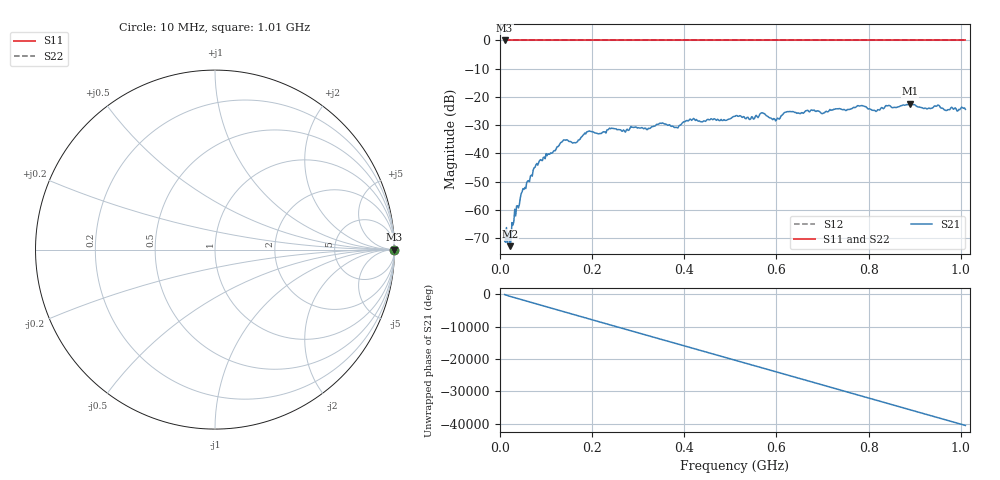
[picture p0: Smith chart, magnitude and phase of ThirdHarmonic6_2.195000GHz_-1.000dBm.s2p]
! 8/17/2025 2:10:11 AM
! C:\ANRITSUVNA\TEMP\TEMP.S2P
! CHANNEL.1
! TR.MEASUREMENT
! RAW.DATA
! RF.CORRECTION.OFF
! AVERAGING.OFF
! IF.BANDWIDTH: 5KHZ
! SWEEPTYPE:  FREQ.SWEEP(Linear)
! Reference Plane Port Info
! PORT:  PORT1  PORT2
! DISTANCE:  0  m  0  m
! TIME:  0  s  0  s
! PHASE.OFFSET:  0  deg.  0  deg.
! LOSS:  0  dB  0  dB
! REF.LOSS:  0  dB  0  dB
! REF.FREQ:  0  Hz  0  Hz
! Power Info
! POWER:  -20  dBm  -20  dBm
! EFF.POWER:  -20  dBm  -20  dBm
! SOURCE.ATTEN:  0  dB  0  dB
! TEST.ATTEN:  0  dB  0  dB
# GHZ S RI R 50.0
! FREQ.GHZ  S11RE  S11IM  S21RE  S21IM  S12RE  S12IM  S22RE  S22IM
!; PortSelection: Port_12
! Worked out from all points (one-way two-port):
!   501 points, 10 MHz to 1.01 GHz, reference 50 ohm
!   highest |S21| = -22.33 dB at 890 MHz (marker M1); lowest = -72.8 dB at 22 MHz (marker M2)
!   lowest |S11| = 0.0 dB at 10 MHz (marker M3)
!   |S11| at or under -10 dB: nowhere
!   |S22| runs from 0.0 to 0.0 dB; largest |S21 - S12| = 1.1
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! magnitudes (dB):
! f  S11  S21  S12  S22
! 10 MHz  0.0  -70.9  0.0  0.0
! 22 MHz  0.0  -72.8  0.0  0.0
! 34 MHz  0.0  -62.1  0.0  0.0
! 48 MHz  0.0  -53.6  0.0  0.0
! 76 MHz  0.0  -44.9  0.0  0.0
! 136 MHz  0.0  -35.6  0.0  0.0
! 162 MHz  0.0  -36.2  0.0  0.0
! 178 MHz  0.0  -34.0  0.0  0.0
! 192 MHz  0.0  -32.2  0.0  0.0
! 344 MHz  0.0  -29.6  0.0  0.0
! 382 MHz  0.0  -30.7  0.0  0.0
! 416 MHz  0.0  -28.3  0.0  0.0
! 510 MHz  0.0  -26.9  0.0  0.0
! 570 MHz  0.0  -25.7  0.0  0.0
! 596 MHz  0.0  -27.8  0.0  0.0
! 622 MHz  0.0  -25.3  0.0  0.0
! 678 MHz  0.0  -24.8  0.0  0.0
! 782 MHz  0.0  -23.2  0.0  0.0
! 814 MHz  0.0  -24.9  0.0  0.0
! 844 MHz  0.0  -23.0  0.0  0.0
! 890 MHz  0.0  -22.3  0.0  0.0
! 1.01 GHz  0.0  -24.4  0.0  0.0
